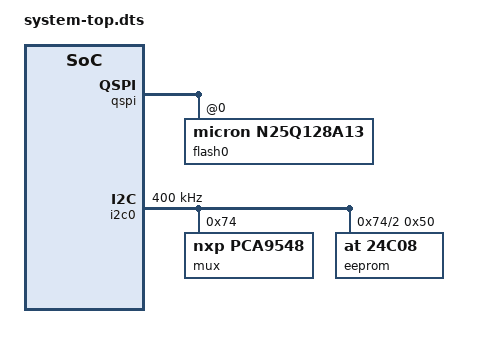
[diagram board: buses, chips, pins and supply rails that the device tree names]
/dts-v1/;
/include/ "system-conf.dtsi"
/ {
};

&qspi {
	flash0: flash@0  {
		compatible = "micron,n25q128a13";
	};
};

&i2c0 {
	clock-frequency = <400000>;
	status = "okay";
	mux@74 {
		#address-cells = <1>;
		#size-cells = <0>;
		compatible = "nxp,pca9548";
		reg = <0x74>;
		i2c@2 {
			reg = <2>;
			#address-cells = <1>;
			#size-cells = <0>;
			eeprom{
				compatible = "at,24c08";
				reg = <0x50>;
			};
		};
	};
};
